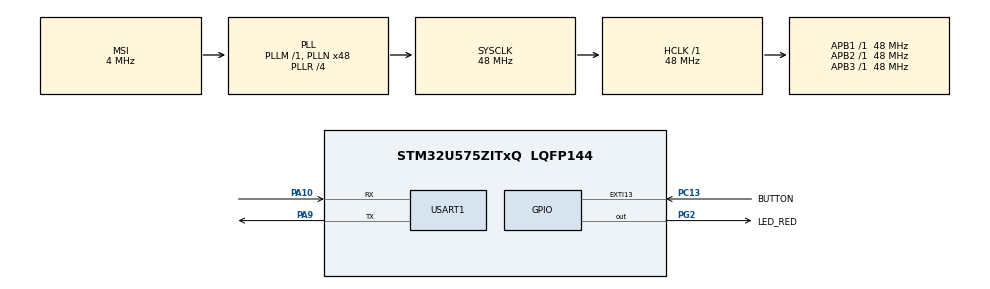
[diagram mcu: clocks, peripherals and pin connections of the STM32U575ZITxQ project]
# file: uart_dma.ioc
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CORTEX_M33_NS.userName=CORTEX_M33
GPDMA1.DESTINC_GPDMACH0=DMA_DINC_INCREMENTED
GPDMA1.DIRECTION_GPDMACH1=DMA_MEMORY_TO_PERIPH
GPDMA1.IPHANDLE_GPDMACH0-SIMPLEREQUEST_GPDMACH0=__NULL
GPDMA1.IPHANDLE_GPDMACH1-SIMPLEREQUEST_GPDMACH1=__NULL
GPDMA1.REQUEST_GPDMACH0=GPDMA1_REQUEST_USART1_RX
GPDMA1.REQUEST_GPDMACH1=GPDMA1_REQUEST_USART1_TX
GPDMA1.SRCINC_GPDMACH1=DMA_SINC_INCREMENTED
Mcu.Family=STM32U5
Mcu.Name=STM32U575ZITxQ
Mcu.Package=LQFP144
NVIC.EXTI13_IRQn=true\:5\:0\:true\:false\:true\:true\:true\:true
NVIC.GPDMA1_Channel0_IRQn=true\:5\:0\:true\:false\:true\:false\:true\:true
NVIC.GPDMA1_Channel1_IRQn=true\:5\:0\:true\:false\:true\:false\:true\:true
NVIC.PriorityGroup=NVIC_PRIORITYGROUP_4
NVIC.USART1_IRQn=true\:5\:0\:true\:false\:true\:true\:true\:true
PA10.Mode=Asynchronous
PA10.Signal=USART1_RX
PA9.Mode=Asynchronous
PA9.Signal=USART1_TX
PC13.GPIO_Label=BUTTON
PC13.GPIO_ModeDefaultEXTI=GPIO_MODE_IT_RISING_FALLING
PC13.Signal=GPXTI13
PC14-OSC32_IN\ (PC14).Mode=LSE-External-Oscillator
PC14-OSC32_IN\ (PC14).Signal=RCC_OSC32_IN
PC15-OSC32_OUT\ (PC15).Mode=LSE-External-Oscillator
PC15-OSC32_OUT\ (PC15).Signal=RCC_OSC32_OUT
PG2.GPIO_Label=LED_RED
PG2.Signal=GPIO_Output
PWR.PowerMode=PWR_SMPS_SUPPLY
ProjectManager.HeapSize=0x200
ProjectManager.StackSize=0x400
ProjectManager.TargetToolchain=STM32CubeIDE
RCC.ADCFreq_Value=16000000
RCC.AHBFreq_Value=48000000
RCC.APB1Freq_Value=48000000
RCC.APB1TimFreq_Value=48000000
RCC.APB2Freq_Value=48000000
RCC.APB2TimFreq_Value=48000000
RCC.APB3Freq_Value=48000000
RCC.CortexFreq_Value=48000000
RCC.EPOD_VALUE=4000000
RCC.HCLKFreq_Value=48000000
RCC.HSE_VALUE=16000000
RCC.HSI48_VALUE=48000000
RCC.HSI_VALUE=16000000
RCC.LSIDIV_VALUE=32000
RCC.MSIAutoCalibration=PLLMODE_MSIS
RCC.MSI_VALUE=4000000
RCC.PLL1R=4
RCC.PLLN=48
RCC.SYSCLKFreq_VALUE=48000000
RCC.SYSCLKSource=RCC_SYSCLKSOURCE_PLLCLK
RCC.USBFreq_Value=48000000
RCC.VCOOutputFreq_Value=192000000
USART1.VirtualMode-Asynchronous=VM_ASYNC
VP_GPDMA1_VS_GPDMACH0.Mode=SIMPLEREQUEST_GPDMACH0
VP_GPDMA1_VS_GPDMACH1.Mode=SIMPLEREQUEST_GPDMACH1
VP_ICACHE_VS_ICACHE.Mode=DirectMappedCache
VP_LPBAMQUEUE_VS_QUEUE.Mode=QUEUEMODE
VP_LPBAM_VS_SIG1.Mode=SmartRun
VP_LPBAM_VS_SIG4.Mode=LPDMA1
VP_MEMORYMAP_VS_MEMORYMAP.Mode=CurAppReg
VP_PWR_VS_LPOM.Mode=PowerOptimisation
VP_PWR_VS_SECSignals.Mode=Security/Privilege
board=custom

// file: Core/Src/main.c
/* USER CODE BEGIN Header */
/**
  ******************************************************************************
  * @file           : main.c
  * @brief          : Main program body
  ******************************************************************************
  * @attention
  *
  * Copyright (c) 2025 STMicroelectronics.
  * All rights reserved.
  *
  * This software is licensed under terms that can be found in the LICENSE file
  * in the root directory of this software component.
  * If no LICENSE file comes with this software, it is provided AS-IS.
  *
  ******************************************************************************
  */
/* USER CODE END Header */
#include "main.h"

/* USER CODE BEGIN Includes */
#include <string.h>
#include "interrupt_callbacks.h"
/* USER CODE END Includes */

UART_HandleTypeDef huart1;
DMA_HandleTypeDef handle_GPDMA1_Channel1;
DMA_HandleTypeDef handle_GPDMA1_Channel0;

void SystemClock_Config(void);
static void SystemPower_Config(void);
static void MX_GPIO_Init(void);
static void MX_GPDMA1_Init(void);
static void MX_ICACHE_Init(void);
static void MX_USART1_UART_Init(void);

int main(void)
{

  /* USER CODE BEGIN 1 */
  uint8_t uart_rx_buf[16];
  uint8_t uart_tx_buf[16];
  /* USER CODE END 1 */

  /* MCU Configuration--------------------------------------------------------*/

  /* Reset of all peripherals, Initializes the Flash interface and the Systick. */
  HAL_Init();

  /* Configure the System Power */
  SystemPower_Config();

  /* Configure the system clock */
  SystemClock_Config();

  /* Initialize all configured peripherals */
  MX_GPIO_Init();
  MX_GPDMA1_Init();
  MX_ICACHE_Init();
  MX_USART1_UART_Init();
  /* USER CODE BEGIN 2 */
  HAL_UART_Receive_DMA(&huart1, uart_rx_buf, 4U);
  /* USER CODE END 2 */

  /* Infinite loop */
  /* USER CODE BEGIN WHILE */
  while (1)
  {
	  if (uart_rx_event) {
		  uart_rx_event = 0U;
		  memcpy(uart_tx_buf, uart_rx_buf, 4U);
		  uart_tx_buf[4] = '\r';
		  uart_tx_buf[5] = '\n';
		  HAL_UART_Receive_DMA(&huart1, uart_rx_buf, 4U);
		  if (HAL_UART_Transmit_DMA(&huart1, uart_tx_buf, 6U) == HAL_OK) {
			  while (uart_tx_event == 0U) {} // Wait for end of UART transmit
			  uart_tx_event = 0U;
		  }
	  }

	  if (button_rising) {
		  button_rising = 0U;
		  HAL_GPIO_WritePin(LED_RED_GPIO_Port, LED_RED_Pin, GPIO_PIN_SET);
	  }

	  if (button_falling) {
		  button_falling = 0U;
		  HAL_GPIO_WritePin(LED_RED_GPIO_Port, LED_RED_Pin, GPIO_PIN_RESET);
	  }
    /* USER CODE END WHILE */

  }
}

void SystemClock_Config(void)
{
  RCC_OscInitTypeDef RCC_OscInitStruct = {0};
  RCC_ClkInitTypeDef RCC_ClkInitStruct = {0};

  /** Configure the main internal regulator output voltage
  */
  if (HAL_PWREx_ControlVoltageScaling(PWR_REGULATOR_VOLTAGE_SCALE3) != HAL_OK)
  {
    Error_Handler();
  }

  /** Configure LSE Drive Capability
  */
  HAL_PWR_EnableBkUpAccess();
  __HAL_RCC_LSEDRIVE_CONFIG(RCC_LSEDRIVE_LOW);

  /** Initializes the CPU, AHB and APB buses clocks
  */
  RCC_OscInitStruct.OscillatorType = RCC_OSCILLATORTYPE_LSE|RCC_OSCILLATORTYPE_MSI;
  RCC_OscInitStruct.LSEState = RCC_LSE_ON;
  RCC_OscInitStruct.MSIState = RCC_MSI_ON;
  RCC_OscInitStruct.MSICalibrationValue = RCC_MSICALIBRATION_DEFAULT;
  RCC_OscInitStruct.MSIClockRange = RCC_MSIRANGE_4;
  RCC_OscInitStruct.PLL.PLLState = RCC_PLL_ON;
  RCC_OscInitStruct.PLL.PLLSource = RCC_PLLSOURCE_MSI;
  RCC_OscInitStruct.PLL.PLLMBOOST = RCC_PLLMBOOST_DIV1;
  RCC_OscInitStruct.PLL.PLLM = 1;
  RCC_OscInitStruct.PLL.PLLN = 48;
  RCC_OscInitStruct.PLL.PLLP = 2;
  RCC_OscInitStruct.PLL.PLLQ = 2;
  RCC_OscInitStruct.PLL.PLLR = 4;
  RCC_OscInitStruct.PLL.PLLRGE = RCC_PLLVCIRANGE_0;
  RCC_OscInitStruct.PLL.PLLFRACN = 0;
  if (HAL_RCC_OscConfig(&RCC_OscInitStruct) != HAL_OK)
  {
    Error_Handler();
  }

  /** Initializes the CPU, AHB and APB buses clocks
  */
  RCC_ClkInitStruct.ClockType = RCC_CLOCKTYPE_HCLK|RCC_CLOCKTYPE_SYSCLK
                              |RCC_CLOCKTYPE_PCLK1|RCC_CLOCKTYPE_PCLK2
                              |RCC_CLOCKTYPE_PCLK3;
  RCC_ClkInitStruct.SYSCLKSource = RCC_SYSCLKSOURCE_PLLCLK;
  RCC_ClkInitStruct.AHBCLKDivider = RCC_SYSCLK_DIV1;
  RCC_ClkInitStruct.APB1CLKDivider = RCC_HCLK_DIV1;
  RCC_ClkInitStruct.APB2CLKDivider = RCC_HCLK_DIV1;
  RCC_ClkInitStruct.APB3CLKDivider = RCC_HCLK_DIV1;

  if (HAL_RCC_ClockConfig(&RCC_ClkInitStruct, FLASH_LATENCY_1) != HAL_OK)
  {
    Error_Handler();
  }

  /** Enable MSI Auto calibration
  */
  HAL_RCCEx_EnableMSIPLLModeSelection(RCC_MSISPLL_MODE_SEL);
  HAL_RCCEx_EnableMSIPLLMode();
}

/**
  * @brief Power Configuration
  * @retval None
  */
static void SystemPower_Config(void)
{
  HAL_PWREx_EnableVddIO2();

  /*
   * Switch to SMPS regulator instead of LDO
   */
  if (HAL_PWREx_ConfigSupply(PWR_SMPS_SUPPLY) != HAL_OK)
  {
    Error_Handler();
  }
}

static void MX_GPDMA1_Init(void)
{

  /* Peripheral clock enable */
  __HAL_RCC_GPDMA1_CLK_ENABLE();

  /* GPDMA1 interrupt Init */
    HAL_NVIC_SetPriority(GPDMA1_Channel0_IRQn, 5, 0);
    HAL_NVIC_EnableIRQ(GPDMA1_Channel0_IRQn);
    HAL_NVIC_SetPriority(GPDMA1_Channel1_IRQn, 5, 0);
    HAL_NVIC_EnableIRQ(GPDMA1_Channel1_IRQn);

}

static void MX_ICACHE_Init(void)
{

  /** Enable instruction cache in 1-way (direct mapped cache)
  */
  if (HAL_ICACHE_ConfigAssociativityMode(ICACHE_1WAY) != HAL_OK)
  {
    Error_Handler();
  }
  if (HAL_ICACHE_Enable() != HAL_OK)
  {
    Error_Handler();
  }

}

static void MX_USART1_UART_Init(void)
{

  huart1.Instance = USART1;
  huart1.Init.BaudRate = 115200;
  huart1.Init.WordLength = UART_WORDLENGTH_8B;
  huart1.Init.StopBits = UART_STOPBITS_1;
  huart1.Init.Parity = UART_PARITY_NONE;
  huart1.Init.Mode = UART_MODE_TX_RX;
  huart1.Init.HwFlowCtl = UART_HWCONTROL_NONE;
  huart1.Init.OverSampling = UART_OVERSAMPLING_16;
  huart1.Init.OneBitSampling = UART_ONE_BIT_SAMPLE_DISABLE;
  huart1.Init.ClockPrescaler = UART_PRESCALER_DIV1;
  huart1.AdvancedInit.AdvFeatureInit = UART_ADVFEATURE_NO_INIT;
  if (HAL_UART_Init(&huart1) != HAL_OK)
  {
    Error_Handler();
  }
  if (HAL_UARTEx_SetTxFifoThreshold(&huart1, UART_TXFIFO_THRESHOLD_1_8) != HAL_OK)
  {
    Error_Handler();
  }
  if (HAL_UARTEx_SetRxFifoThreshold(&huart1, UART_RXFIFO_THRESHOLD_1_8) != HAL_OK)
  {
    Error_Handler();
  }
  if (HAL_UARTEx_DisableFifoMode(&huart1) != HAL_OK)
  {
    Error_Handler();
  }

}

static void MX_GPIO_Init(void)
{
  GPIO_InitTypeDef GPIO_InitStruct = {0};

  /* GPIO Ports Clock Enable */
  __HAL_RCC_GPIOC_CLK_ENABLE();
  __HAL_RCC_GPIOG_CLK_ENABLE();
  __HAL_RCC_GPIOA_CLK_ENABLE();

  /*Configure GPIO pin Output Level */
  HAL_GPIO_WritePin(LED_RED_GPIO_Port, LED_RED_Pin, GPIO_PIN_RESET);

  /*Configure GPIO pin : BUTTON_Pin */
  GPIO_InitStruct.Pin = BUTTON_Pin;
  GPIO_InitStruct.Mode = GPIO_MODE_IT_RISING_FALLING;
  GPIO_InitStruct.Pull = GPIO_NOPULL;
  HAL_GPIO_Init(BUTTON_GPIO_Port, &GPIO_InitStruct);

  /*Configure GPIO pin : LED_RED_Pin */
  GPIO_InitStruct.Pin = LED_RED_Pin;
  GPIO_InitStruct.Mode = GPIO_MODE_OUTPUT_PP;
  GPIO_InitStruct.Pull = GPIO_NOPULL;
  GPIO_InitStruct.Speed = GPIO_SPEED_FREQ_LOW;
  HAL_GPIO_Init(LED_RED_GPIO_Port, &GPIO_InitStruct);

  /* EXTI interrupt init*/
  HAL_NVIC_SetPriority(EXTI13_IRQn, 5, 0);
  HAL_NVIC_EnableIRQ(EXTI13_IRQn);

}

void Error_Handler(void)
{
  __disable_irq();
  while (1)
  {
  }
}
